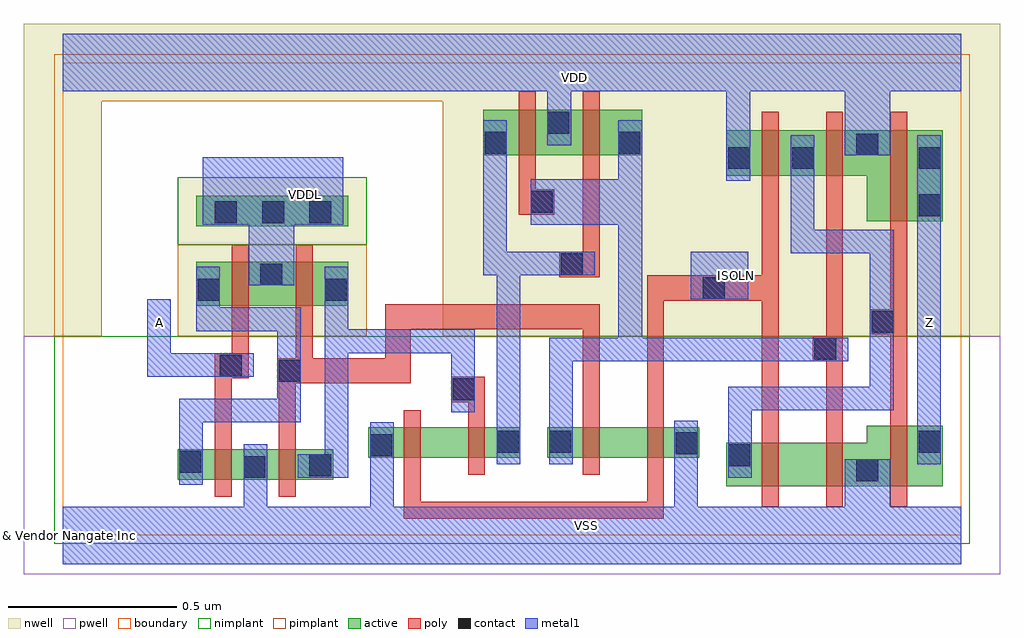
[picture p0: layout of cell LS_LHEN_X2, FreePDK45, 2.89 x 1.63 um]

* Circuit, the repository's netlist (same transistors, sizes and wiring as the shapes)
* 
* ******************************************************************************
* *                                                                            *
* *                   Copyright (C) 2004-2011, Nangate Inc.                    *
* *                           All rights reserved.                             *
* *                                                                            *
* * Nangate and the Nangate logo are trademarks of Nangate Inc.                *
* *                                                                            *
* * All trademarks, logos, software marks, and trade names (collectively the   *
* * "Marks") in this program are proprietary to Nangate or other respective    *
* * owners that have granted Nangate the right and license to use such Marks.  *
* * You are not permitted to use the Marks without the prior written consent   *
* * of Nangate or such third party that may own the Marks.                     *
* *                                                                            *
* * This file has been provided pursuant to a License Agreement containing     *
* * restrictions on its use. This file contains valuable trade secrets and     *
* * proprietary information of Nangate Inc., and is protected by U.S. and      *
* * international laws and/or treaties.                                        *
* *                                                                            *
* * The copyright notice(s) in this file does not indicate actual or intended  *
* * publication of this file.                                                  *
* *                                                                            *
* *     NGLibraryCreator, v2010.08-HR32-SP3-2010-08-05 - build 1009061800      *
* *                                                                            *
* ******************************************************************************
* 
* 
* Running on server08.nangate.com for user Giancarlo Franciscatto (gfr).
* Local time is now Thu, 6 Jan 2011, 19:45:47.
* Main process id is 3320.
*
********************************************************************************
*                                                                              *
* Cellname:   LS_LHEN_X2.                                                      *
*                                                                              *
* Technology: NCSU FreePDK 45nm.                                               *
* Format:     Cdl.                                                             *
*                                                                              *
* Written on server08.nangate.com for user Giancarlo Franciscatto (gfr)        *
* at 19:45:47 on Thu, 6 Jan 2011.                                              *
*                                                                              *
********************************************************************************
.SUBCKT LS_LHEN_X2 A ISOLN Z VDD VDDL VSS 
*.PININFO A:I ISOLN:I Z:O VDD:P VDDL:P VSS:G 
*.EQN Z=(A * ISOLN)
M_i_0 VSS A net_000 VSS NMOS_VTL W=0.090000U L=0.050000U
M_i_7 net_001 net_000 VSS VSS NMOS_VTL W=0.090000U L=0.050000U
M_i_13 net_002 ISOLN VSS VSS NMOS_VTL W=0.090000U L=0.050000U
M_i_18 net_003 net_001 net_002 VSS NMOS_VTL W=0.090000U L=0.050000U
M_i_24 net_005 net_000 net_004 VSS NMOS_VTL W=0.090000U L=0.050000U
M_i_29 VSS ISOLN net_005 VSS NMOS_VTL W=0.090000U L=0.050000U
M_i_35 net_007 ISOLN net_006 VSS NMOS_VTL W=0.130000U L=0.050000U
M_i_40 VSS net_004 net_007 VSS NMOS_VTL W=0.130000U L=0.050000U
M_i_46 Z net_006 VSS VSS NMOS_VTL W=0.180000U L=0.050000U
M_i_53 VDDL A net_000 VDDL PMOS_VTL W=0.130000U L=0.050000U
M_i_60 net_001 net_000 VDDL VDDL PMOS_VTL W=0.130000U L=0.050000U
M_i_66 VDD net_004 net_003 VDD PMOS_VTL W=0.135000U L=0.050000U
M_i_73 net_004 net_003 VDD VDD PMOS_VTL W=0.135000U L=0.050000U
M_i_79 net_006 ISOLN VDD VDD PMOS_VTL W=0.135000U L=0.050000U
M_i_86 VDD net_004 net_006 VDD PMOS_VTL W=0.135000U L=0.050000U
M_i_92 Z net_006 VDD VDD PMOS_VTL W=0.270000U L=0.050000U
.ENDS 

********************************************************************************
*
* END
*
********************************************************************************

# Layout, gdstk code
import gdstk
lib = gdstk.Library(unit=1e-6, precision=1e-10)
def R(c, l, rs):  # rectangles x0, y0, x1, y1
    for r in rs: c.add(gdstk.rectangle(r[:2], r[2:], *l))
def A(c, l, x, y, w, h, nx, ny, dx, dy):  # array of equal rectangles
    R(c, l, [(x+i*dx, y+j*dy, x+i*dx+w, y+j*dy+h) for i in range(nx) for j in range(ny)])
def P(c, l, *ps):  # polygons
    for p in ps: c.add(gdstk.Polygon(p, *l))
active = (1, 0)
pwell = (2, 0)
nwell = (3, 0)
nimplant = (4, 0)
pimplant = (5, 0)
poly = (9, 0)
contact = (10, 0)
metal1 = (11, 0)
boundary = (235, 0)

ls_lhen_x2 = lib.new_cell('LS_LHEN_X2')
R(ls_lhen_x2, active, [(0.34,0.165,0.8,0.255), (0.905,0.23,1.355,0.32), (1.435,0.23,1.885,0.32), (0.395,0.68,0.845,0.81), (0.395,0.915,0.845,1.005), (1.245,1.125,1.715,1.26)])
P(ls_lhen_x2, active, [(1.965,0.145),(2.605,0.145),(2.605,0.325),(2.38,0.325),(2.38,0.275),(1.965,0.275)],
  [(1.965,1.065),(2.38,1.065),(2.38,0.93),(2.605,0.93),(2.605,1.2),(1.965,1.2)])
R(ls_lhen_x2, pwell, [(-0.115,-0.115,2.775,0.59)])
R(ls_lhen_x2, nwell, [(0.34,0.59,0.9,1.06)])
P(ls_lhen_x2, nwell, [(-0.115,0.59),(0.115,0.59),(0.115,1.285),(1.125,1.285),(1.125,0.59),(2.775,0.59),(2.775,1.515),(-0.115,1.515)])
R(ls_lhen_x2, nimplant, [(-0.025,-0.025,2.685,0.59), (0.34,0.86,0.9,1.06)])
R(ls_lhen_x2, pimplant, [(0.34,0.59,0.9,0.86)])
P(ls_lhen_x2, pimplant, [(-0.025,0.59),(0.115,0.59),(0.115,1.285),(1.125,1.285),(1.125,0.59),(2.685,0.59),(2.685,1.425),(-0.025,1.425)])
P(ls_lhen_x2, poly, [(1.35,0.95),(1.455,0.95),(1.455,1.025),(1.4,1.025),(1.4,1.315),(1.35,1.315)],
  [(0.635,0.45),(0.64,0.45),(0.64,0.115),(0.69,0.115),(0.69,0.45),(1.03,0.45),(1.03,0.61),(1.54,0.61),(1.54,0.18),(1.59,0.18),(1.59,0.685),(0.955,0.685),(0.955,0.525),(0.74,0.525),(0.74,0.86),(0.69,0.86),(0.69,0.525),(0.635,0.525)],
  [(1.47,0.765),(1.59,0.765),(1.59,1.315),(1.54,1.315),(1.54,0.84),(1.47,0.84)],
  [(1.01,0.05),(1.78,0.05),(1.78,0.695),(2.07,0.695),(2.07,0.085),(2.12,0.085),(2.12,1.255),(2.07,1.255),(2.07,0.77),(1.73,0.77),(1.73,0.1),(1.06,0.1),(1.06,0.37),(1.01,0.37)],
  [(2.22,0.515),(2.26,0.515),(2.26,0.085),(2.31,0.085),(2.31,1.255),(2.26,1.255),(2.26,0.59),(2.22,0.59)],
  [(2.39,0.595),(2.45,0.595),(2.45,0.085),(2.5,0.085),(2.5,1.255),(2.45,1.255),(2.45,0.67),(2.39,0.67)],
  [(0.45,0.115),(0.5,0.115),(0.5,0.465),(0.55,0.465),(0.55,0.86),(0.5,0.86),(0.5,0.54),(0.45,0.54)],
  [(1.15,0.395),(1.2,0.395),(1.2,0.18),(1.25,0.18),(1.25,0.47),(1.15,0.47)])
A(ls_lhen_x2, contact, 0.45, 0.925, 0.065, 0.065, 3, 1, 0.14, 0)
R(ls_lhen_x2, contact, [(2.35,0.16,2.415,0.225), (0.535,0.17,0.6,0.235), (0.73,0.175,0.795,0.24), (0.345,0.185,0.41,0.25), (1.97,0.205,2.035,0.27), (0.91,0.235,0.975,0.3), (1.815,0.24,1.88,0.305), (1.285,0.245,1.35,0.31), (1.44,0.245,1.505,0.31), (2.535,0.245,2.6,0.31), (1.155,0.4,1.22,0.465), (0.64,0.455,0.705,0.52), (0.465,0.47,0.53,0.535), (2.225,0.52,2.29,0.585), (2.395,0.6,2.46,0.665), (0.4,0.695,0.465,0.76), (0.775,0.695,0.84,0.76), (1.895,0.7,1.96,0.765), (0.585,0.74,0.65,0.805), (1.475,0.77,1.54,0.835), (2.535,0.945,2.6,1.01), (1.385,0.955,1.45,1.02), (1.97,1.085,2.035,1.15), (2.16,1.085,2.225,1.15), (2.535,1.085,2.6,1.15), (2.35,1.125,2.415,1.19), (1.25,1.13,1.315,1.195), (1.645,1.13,1.71,1.195), (1.435,1.19,1.5,1.255)])
R(ls_lhen_x2, metal1, [(2.53,0.21,2.6,1.185), (1.86,0.7,2.03,0.84)])
P(ls_lhen_x2, metal1, [(0.25,0.47),(0.565,0.47),(0.565,0.54),(0.32,0.54),(0.32,0.7),(0.25,0.7)],
  [(0.395,0.605),(0.635,0.605),(0.635,0.405),(0.345,0.405),(0.345,0.15),(0.415,0.15),(0.415,0.335),(0.705,0.335),(0.705,0.675),(0.465,0.675),(0.465,0.795),(0.395,0.795)],
  [(0.415,0.92),(0.55,0.92),(0.55,0.74),(0.685,0.74),(0.685,0.92),(0.83,0.92),(0.83,1.12),(0.415,1.12)],
  [(0.695,0.17),(0.845,0.17),(0.845,0.54),(1.15,0.54),(1.15,0.365),(1.22,0.365),(1.22,0.61),(0.845,0.61),(0.845,0.795),(0.775,0.795),(0.775,0.24),(0.695,0.24)],
  [(1.245,0.77),(1.285,0.77),(1.285,0.21),(1.355,0.21),(1.355,0.77),(1.575,0.77),(1.575,0.84),(1.315,0.84),(1.315,1.23),(1.245,1.23)],
  [(1.385,0.92),(1.645,0.92),(1.645,0.585),(1.44,0.585),(1.44,0.21),(1.51,0.21),(1.51,0.515),(2.325,0.515),(2.325,0.585),(1.715,0.585),(1.715,1.23),(1.645,1.23),(1.645,1.055),(1.385,1.055)],
  [(2.155,0.835),(2.39,0.835),(2.39,0.44),(1.97,0.44),(1.97,0.17),(2.04,0.17),(2.04,0.37),(2.46,0.37),(2.46,0.905),(2.225,0.905),(2.225,1.185),(2.155,1.185)],
  [(0,-0.085),(2.66,-0.085),(2.66,0.085),(2.45,0.085),(2.45,0.225),(2.315,0.225),(2.315,0.085),(1.88,0.085),(1.88,0.34),(1.81,0.34),(1.81,0.085),(0.98,0.085),(0.98,0.335),(0.91,0.335),(0.91,0.085),(0.605,0.085),(0.605,0.27),(0.535,0.27),(0.535,0.085),(0,0.085)],
  [(0,1.315),(1.435,1.315),(1.435,1.155),(1.505,1.155),(1.505,1.315),(1.965,1.315),(1.965,1.05),(2.035,1.05),(2.035,1.315),(2.315,1.315),(2.315,1.125),(2.45,1.125),(2.45,1.315),(2.66,1.315),(2.66,1.485),(0,1.485)])
R(ls_lhen_x2, boundary, [(0,0,2.66,1.4)])
ls_lhen_x2.add(gdstk.Label('VDDL', (0.72,1.01), layer=11, texttype=0))
ls_lhen_x2.add(gdstk.Label('A', (0.285,0.63), layer=11, texttype=0))
ls_lhen_x2.add(gdstk.Label('VSS', (1.55,0.03), layer=11, texttype=0))
ls_lhen_x2.add(gdstk.Label('VDD', (1.515,1.355), layer=11, texttype=0))
ls_lhen_x2.add(gdstk.Label('ISOLN', (1.995,0.77), layer=11, texttype=0))
ls_lhen_x2.add(gdstk.Label('Z', (2.565,0.63), layer=11, texttype=0))
ls_lhen_x2.add(gdstk.Label('& Vendor Nangate Inc', (0,0), layer=63, texttype=63))
ls_lhen_x2.add(gdstk.Label('& Product Open Cell Library', (0,0), layer=63, texttype=63))
ls_lhen_x2.add(gdstk.Label('& Version 2010_12', (0,0), layer=63, texttype=63))
ls_lhen_x2.add(gdstk.Label('& Instance LS_LHEN_X2', (0,0), layer=63, texttype=63))

lib.write_gds('LS_LHEN_X2.gds')
